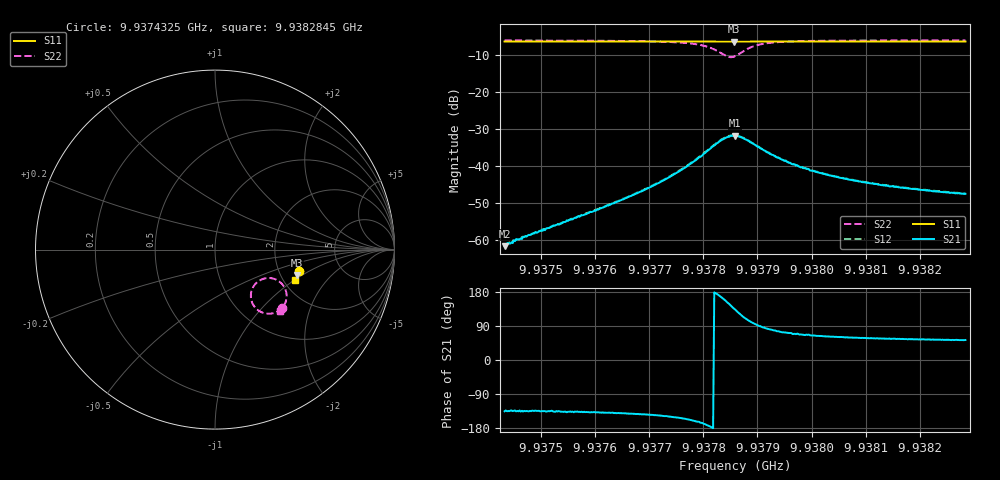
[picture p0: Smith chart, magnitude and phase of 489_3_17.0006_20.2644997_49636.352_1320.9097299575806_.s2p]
#  HZ  S  RI  R  50.00
! Rohde & Schwarz Vector Network Analyzer
! Rohde-Schwarz,ZNB20-2Port,1311601062101988,3.16
! Created: UTC 3/20/2024, 11:14:01 PM
! freq[Hz]  re:S11  im:S11  re:S21  im:S21  re:S12  im:S12  re:S22  im:S22
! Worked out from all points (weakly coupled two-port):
!   401 points, 9.9374325 GHz to 9.9382845 GHz, reference 50 ohm
!   highest |S21| = -31.85 dB at 9.9378585 GHz (marker M1); lowest = -61.8 dB at 9.9374325 GHz (marker M2)
!   lowest |S11| = -6.4 dB at 9.9378563 GHz (marker M3), VSWR 2.83, Z = 122 - j45.3 ohm
!   |S11| at or under -10 dB: nowhere
!   |S22| runs from -10.6 to -6.1 dB; largest |S21 - S12| = 0.0011
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9.93743247e9  0.4685 -0.1172  -0.000579 -0.000573  -0.000585 -0.000601  0.3755 -0.3256
9.93745377e9  0.4683 -0.1186  -0.000725 -0.000711  -0.000695 -0.000716  0.3737 -0.3273
9.93757518e9  0.4654 -0.1268  -0.00155 -0.00147  -0.0016 -0.00146  0.36 -0.3378
9.93765826e9  0.4636 -0.1325  -0.00287 -0.0023  -0.00294 -0.00233  0.3444 -0.3469
9.9377179e9  0.4618 -0.1365  -0.00488 -0.00325  -0.00503 -0.00327  0.3239 -0.3545
9.93776476e9  0.4603 -0.1397  -0.00841 -0.00393  -0.00866 -0.00393  0.2925 -0.3571
9.93780523e9  0.4584 -0.1422  -0.0152 -0.00246  -0.0156 -0.00219  0.2392 -0.3372
9.93782014e9  0.4576 -0.1429  -0.0188 0.000505  -0.0192 0.000863  0.2139 -0.3092
9.93783505e9  0.4568 -0.1432  -0.0216 0.00626  -0.022 0.0072  0.1997 -0.2587
9.9378457e9  0.4562 -0.1434  -0.0214 0.0121  -0.0216 0.0132  0.21 -0.2131
9.93785635e9  0.4563 -0.1433  -0.0183 0.0176  -0.0181 0.0186  0.2436 -0.1752
9.93785848e9  0.4564 -0.1434  -0.0175 0.0186  -0.017 0.0194  0.2525 -0.1701
9.93786913e9  0.4568 -0.1434  -0.012 0.0212  -0.0115 0.0218  0.2982 -0.1582
9.93788404e9  0.4572 -0.1442  -0.00511 0.021  -0.00456 0.0213  0.3508 -0.1725
9.93790747e9  0.4573 -0.1463  0.000702 0.0169  0.00128 0.017  0.3885 -0.2138
9.93792238e9  0.4573 -0.1472  0.00229 0.0144  0.0027 0.0146  0.3965 -0.2356
9.93796072e9  0.4565 -0.1502  0.00352 0.0104  0.00385 0.0102  0.3979 -0.2724
9.93800119e9  0.4556 -0.1532  0.00365 0.00774  0.00387 0.00775  0.3929 -0.2934
9.9380587e9  0.4541 -0.1571  0.00334 0.00585  0.00352 0.00582  0.385 -0.3104
9.9381439e9  0.4518 -0.1627  0.00288 0.00439  0.00308 0.0044  0.3755 -0.3249
9.93822697e9  0.4494 -0.168  0.00269 0.00363  0.00277 0.00367  0.3681 -0.3343
9.93828448e9  0.4479 -0.1719  0.00252 0.00332  0.00261 0.00326  0.3632 -0.3395
